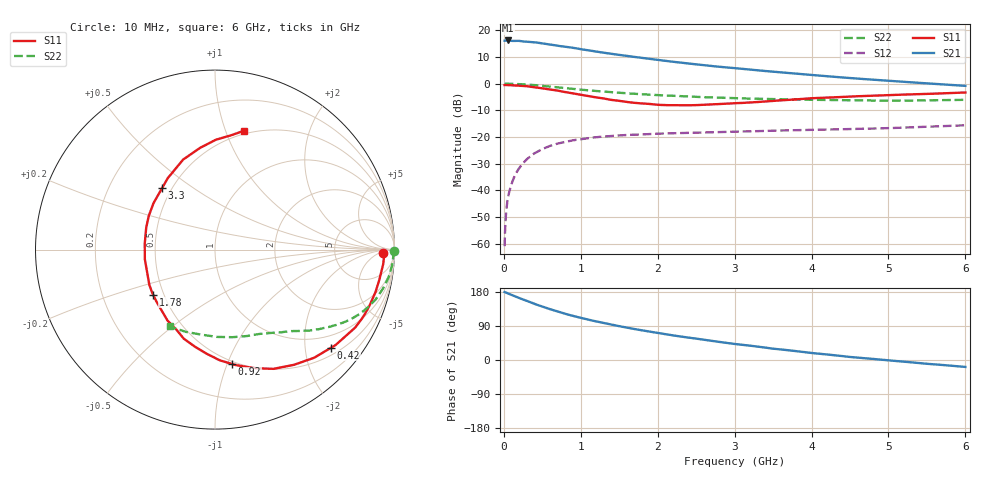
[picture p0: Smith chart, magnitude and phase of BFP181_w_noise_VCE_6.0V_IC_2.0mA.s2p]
! Infineon Technologies  Discrete & RF Semiconductors
! BFP181
! VCE = 6.0 V,  IC =  2.0 mA
! Common Emitter S-Parameters:  Jan 2016
# GHz  S  MA  R  50
!  f  S11  S21  S12  S22
! GHz  MAG  ANG  MAG  ANG  MAG  ANG  MAG  ANG
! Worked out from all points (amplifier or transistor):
!   210 points, 10 MHz to 6 GHz, reference 50 ohm
!   highest |S21| = 16.2 dB at 50 MHz (marker M1)
!   |S21| within 3 dB of that: start of sweep to 947.3 MHz
!   unconditionally stable (mu >= 1): 2.536 GHz to end of sweep
!   at 185 MHz: K = 0.09, MSG = 24.2 dB, |S12| = -32.3 dB
!   at 1.52 GHz: K = 0.67, MSG = 15.0 dB, |S12| = -19.4 dB
!   at 6 GHz: K = 1.14, MAG = 5.1 dB, |S12| = -15.6 dB
!   lowest NFmin = 1.35 dB at 450 MHz
!   S11 on the Smith chart (normalised r, x): 10 MHz: 29, -9; 420 MHz: 0.67, -2.59; 920 MHz: 0.48, -1.04; 1.78 GHz: 0.44, -0.27; 3.3 GHz: 0.44, +0.38; 6 GHz: 0.47, +1.16
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0.01  0.9389 -1.2  6.375 179.2  0.0009 77.0  0.9965 -0.4
0.015  0.9411 -1.7  6.377 178.9  0.0016 82.5  0.995 -0.6
0.025  0.9426 -2.6  6.387 178.2  0.0031 86.1  0.9935 -1.1
0.05  0.9404 -5.0  6.434 175.9  0.0068 88.8  0.9939 -2.3
0.12  0.9284 -11.9  6.318 170.2  0.0158 81.8  0.9892 -5.4
0.2  0.9161 -19.7  6.316 163.5  0.0261 78.2  0.9796 -9.0
0.42  0.8472 -40.1  5.896 146.5  0.0515 65.6  0.9317 -17.9
0.5  0.8173 -47.5  5.667 140.6  0.0592 61.6  0.9097 -20.8
0.6  0.7781 -55.6  5.426 134.2  0.068 57.4  0.882 -24.0
0.8  0.6934 -72.1  4.926 121.8  0.0812 49.2  0.8249 -29.4
0.92  0.6452 -81.4  4.631 115.3  0.0876 45.2  0.7908 -32.2
1.02  0.6098 -88.9  4.371 110.2  0.0919 42.3  0.7658 -34.3
1.2  0.5527 -101.6  3.983 101.9  0.099 37.5  0.7275 -37.6
1.4  0.4946 -115.9  3.607 93.4  0.1043 33.6  0.6913 -40.8
1.78  0.4265 -144.0  3.053 78.7  0.1116 28.2  0.634 -45.7
2.02  0.4 -160.1  2.752 70.8  0.1156 25.4  0.6075 -48.7
2.44  0.3933 172.6  2.346 58.0  0.1204 21.9  0.571 -54.2
3.1  0.4346 138.8  1.889 40.1  0.1267 18.0  0.5277 -63.4
3.3  0.4518 130.8  1.773 35.3  0.1289 17.2  0.5198 -66.5
4.1  0.5386 107.1  1.413 16.6  0.1372 14.0  0.4942 -80.7
5.1  0.6172 88.0  1.105 -2.7  0.148 11.7  0.4799 -101.1
6  0.6817 76.3  0.907 -18.3  0.1656 9.1  0.4968 -120.5
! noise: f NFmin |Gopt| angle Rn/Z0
0.45  1.35  0.6  17  0.4
0.9  1.45  0.5  36  0.4
1.8  1.8  0.31  80  0.37
